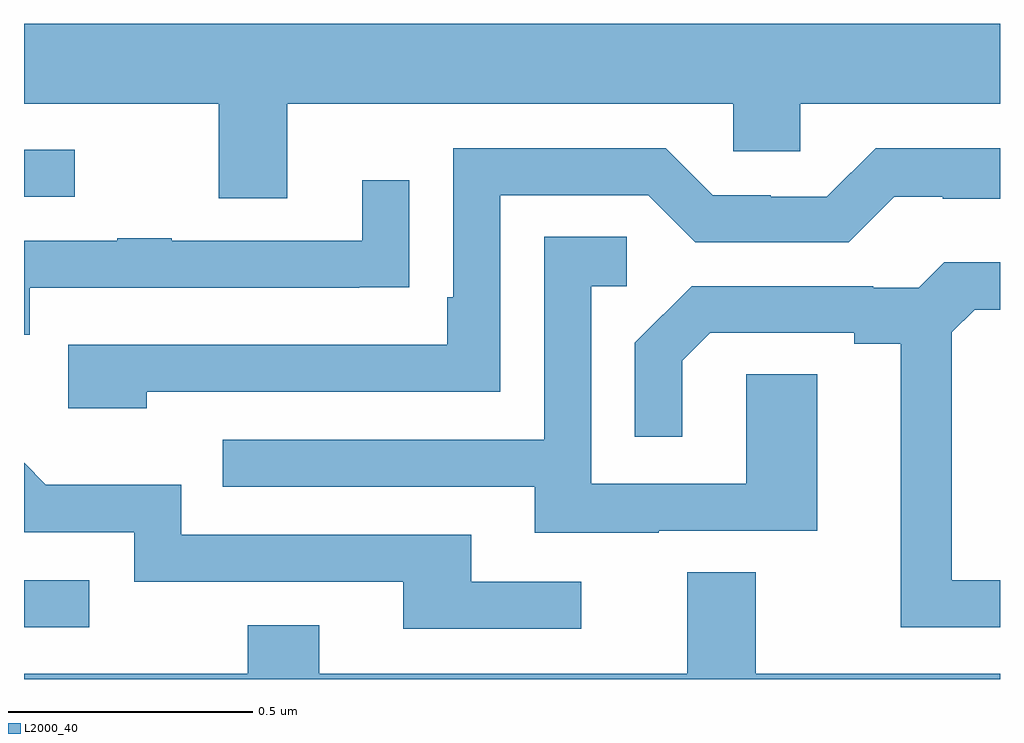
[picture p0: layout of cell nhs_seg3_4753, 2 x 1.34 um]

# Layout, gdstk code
import gdstk
lib = gdstk.Library(unit=1e-6, precision=1e-09)
def R(c, l, rs):  # rectangles x0, y0, x1, y1
    for r in rs: c.add(gdstk.rectangle(r[:2], r[2:], *l))
def P(c, l, *ps):  # polygons
    for p in ps: c.add(gdstk.Polygon(p, *l))
L2000_40 = (2000, 40)

nhs_seg3_4753 = lib.new_cell('nhs_seg3_4753')
R(nhs_seg3_4753, L2000_40, [(170,702.507,170.134,702.603), (170,703.389,170.104,703.485)])
P(nhs_seg3_4753, L2000_40, [(170.539,703.58),(171.453,703.58),(171.453,703.482),(171.591,703.482),(171.591,703.58),(172,703.58),(172,703.744),(170,703.744),(170,703.58),(170.399,703.58),(170.399,703.386),(170.539,703.386)],
  [(170.252,702.99),(170.976,702.99),(170.976,703.392),(171.279,703.392),(171.375,703.296),(171.69,703.296),(171.783,703.389),(171.883,703.389),(171.883,703.385),(172,703.385),(172,703.489),(171.745,703.489),(171.645,703.389),(171.53,703.389),(171.53,703.392),(171.411,703.392),(171.315,703.488),(170.88,703.488),(170.88,703.183),(170.867,703.183),(170.867,703.086),(170.091,703.086),(170.091,702.956),(170.252,702.956)],
  [(170.012,703.203),(170.687,703.203),(170.687,703.204),(170.789,703.204),(170.789,703.423),(170.693,703.423),(170.693,703.299),(170.303,703.299),(170.303,703.304),(170.191,703.304),(170.191,703.299),(170,703.299),(170,703.106),(170.012,703.106)],
  [(171.301,702.705),(171.625,702.705),(171.625,703.025),(171.48,703.025),(171.48,702.801),(171.162,702.801),(171.162,703.206),(171.235,703.206),(171.235,703.307),(171.066,703.307),(171.066,702.891),(170.407,702.891),(170.407,702.795),(171.047,702.795),(171.047,702.701),(171.301,702.701)],
  [(172,702.603),(171.901,702.603),(171.901,703.111),(171.948,703.158),(172,703.158),(172,703.255),(171.886,703.255),(171.834,703.203),(171.74,703.203),(171.74,703.206),(171.368,703.206),(171.252,703.09),(171.252,702.897),(171.349,702.897),(171.349,703.053),(171.406,703.11),(171.701,703.11),(171.701,703.088),(171.797,703.088),(171.797,702.507),(172,702.507)],
  [(171.142,702.6),(170.917,702.6),(170.917,702.696),(170.322,702.696),(170.322,702.799),(170.045,702.799),(170,702.844),(170,702.702),(170.226,702.702),(170.226,702.6),(170.777,702.6),(170.777,702.504),(171.142,702.504)],
  [(172,702.412),(171.499,702.412),(171.499,702.62),(171.359,702.62),(171.359,702.412),(170.605,702.412),(170.605,702.511),(170.458,702.511),(170.458,702.412),(170,702.412),(170,702.4),(172,702.4)])

lib.write_gds('nhs_seg3_4753.gds')
